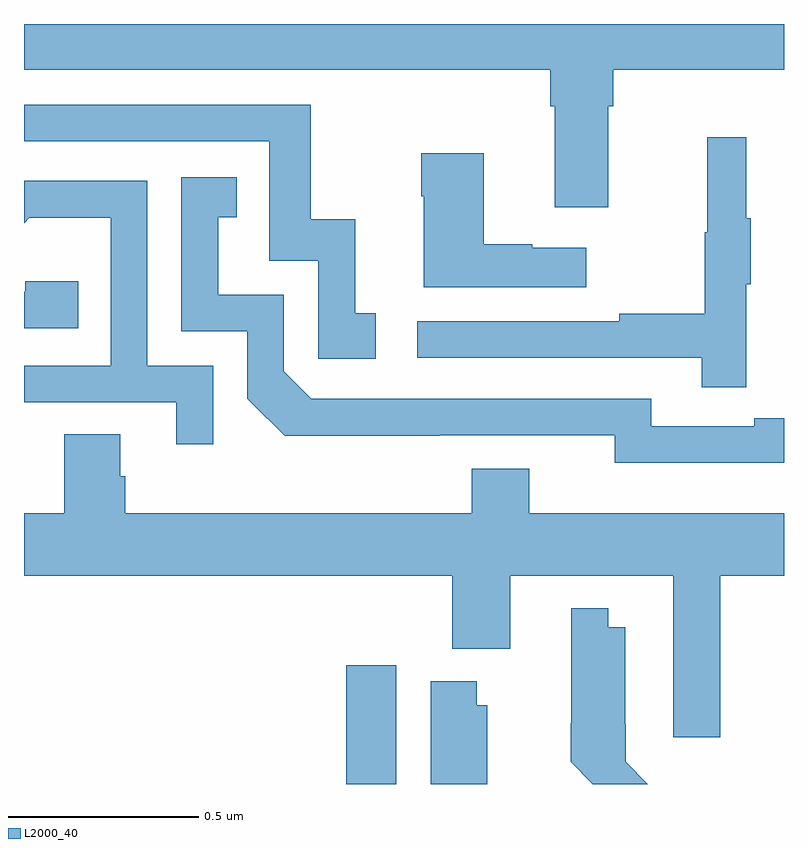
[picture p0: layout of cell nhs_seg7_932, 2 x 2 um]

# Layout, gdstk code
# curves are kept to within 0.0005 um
import gdstk
lib = gdstk.Library(unit=1e-6, precision=1e-09)
def R(c, l, rs):  # rectangles x0, y0, x1, y1
    for r in rs: c.add(gdstk.rectangle(r[:2], r[2:], *l))
def P(c, l, *ps):  # polygons
    for p in ps: c.add(gdstk.Polygon(p, *l))
L2000_40 = (2000, 40)

nhs_seg7_932 = lib.new_cell('nhs_seg7_932')
R(nhs_seg7_932, L2000_40, [(123.848,1068,123.979,1068.313)])
P(nhs_seg7_932, L2000_40, [(124.537,1069.784),(124.55,1069.784),(124.55,1069.88),(125,1069.88),(125,1070),(123,1070),(123,1069.88),(124.385,1069.88),(124.385,1069.784),(124.397,1069.784),(124.397,1069.518),(124.537,1069.518)],
  [(123.925,1069.239),(123.872,1069.239),(123.872,1069.486),(123.754,1069.486),(123.754,1069.788),(123,1069.788),(123,1069.692),(123.645,1069.692),(123.645,1069.377),(123.774,1069.377),(123.774,1069.119),(123.925,1069.119)],
  [(124.901,1069.315),(124.912,1069.315),(124.912,1069.489),(124.901,1069.489),(124.901,1069.702),(124.798,1069.702),(124.798,1069.452),(124.791,1069.452),(124.791,1069.238),(124.567,1069.238),(124.567,1069.218),(124.035,1069.218),(124.035,1069.122),(124.783,1069.122),(124.783,1069.044),(124.901,1069.044)],
  [(124.48,1069.411),(124.337,1069.411),(124.337,1069.421),(124.21,1069.421),(124.21,1069.66),(124.045,1069.66),(124.045,1069.547),(124.052,1069.547),(124.052,1069.307),(124.48,1069.307)],
  [(124.922,1068.846),(125,1068.846),(125,1068.962),(124.922,1068.962),(124.922,1068.942),(124.65,1068.942),(124.65,1069.014),(123.756,1069.014),(123.684,1069.086),(123.684,1069.287),(123.511,1069.287),(123.511,1069.491),(123.56,1069.491),(123.56,1069.597),(123.414,1069.597),(123.414,1069.191),(123.588,1069.191),(123.588,1069.014),(123.686,1068.917),(124.094,1068.917),(124.094,1068.918),(124.554,1068.918),(124.554,1068.845),(124.922,1068.845)],
  [(123.498,1069.101),(123.324,1069.101),(123.324,1069.587),(123,1069.587),(123,1069.476),(123.014,1069.49),(123.228,1069.49),(123.228,1069.101),(123,1069.101),(123,1069.005),(123.401,1069.005),(123.401,1068.894),(123.498,1068.894)],
  [(123.143,1069.323),(123.003,1069.323),(123.003,1069.296),(123,1069.296),(123,1069.2),(123.143,1069.2)],
  [(124.832,1068.548),(125,1068.548),(125,1068.712),(124.33,1068.712),(124.33,1068.829),(124.178,1068.829),(124.178,1068.712),(123.266,1068.712),(123.266,1068.81),(123.253,1068.81),(123.253,1068.92),(123.106,1068.92),(123.106,1068.712),(123,1068.712),(123,1068.548),(124.127,1068.548),(124.127,1068.356),(124.279,1068.356),(124.279,1068.548),(124.709,1068.548),(124.709,1068.123),(124.832,1068.123)],
  [(124.583,1068.058),(124.583,1068.157),(124.582,1068.157),(124.582,1068.412),(124.537,1068.412),(124.537,1068.463),(124.44,1068.463),(124.44,1068.16),(124.439,1068.16),(124.439,1068.058),(124.497,1068),(124.641,1068)],
  [(124.219,1068.207),(124.192,1068.207),(124.192,1068.271),(124.07,1068.271),(124.07,1068),(124.219,1068)])

lib.write_gds('nhs_seg7_932.gds')
